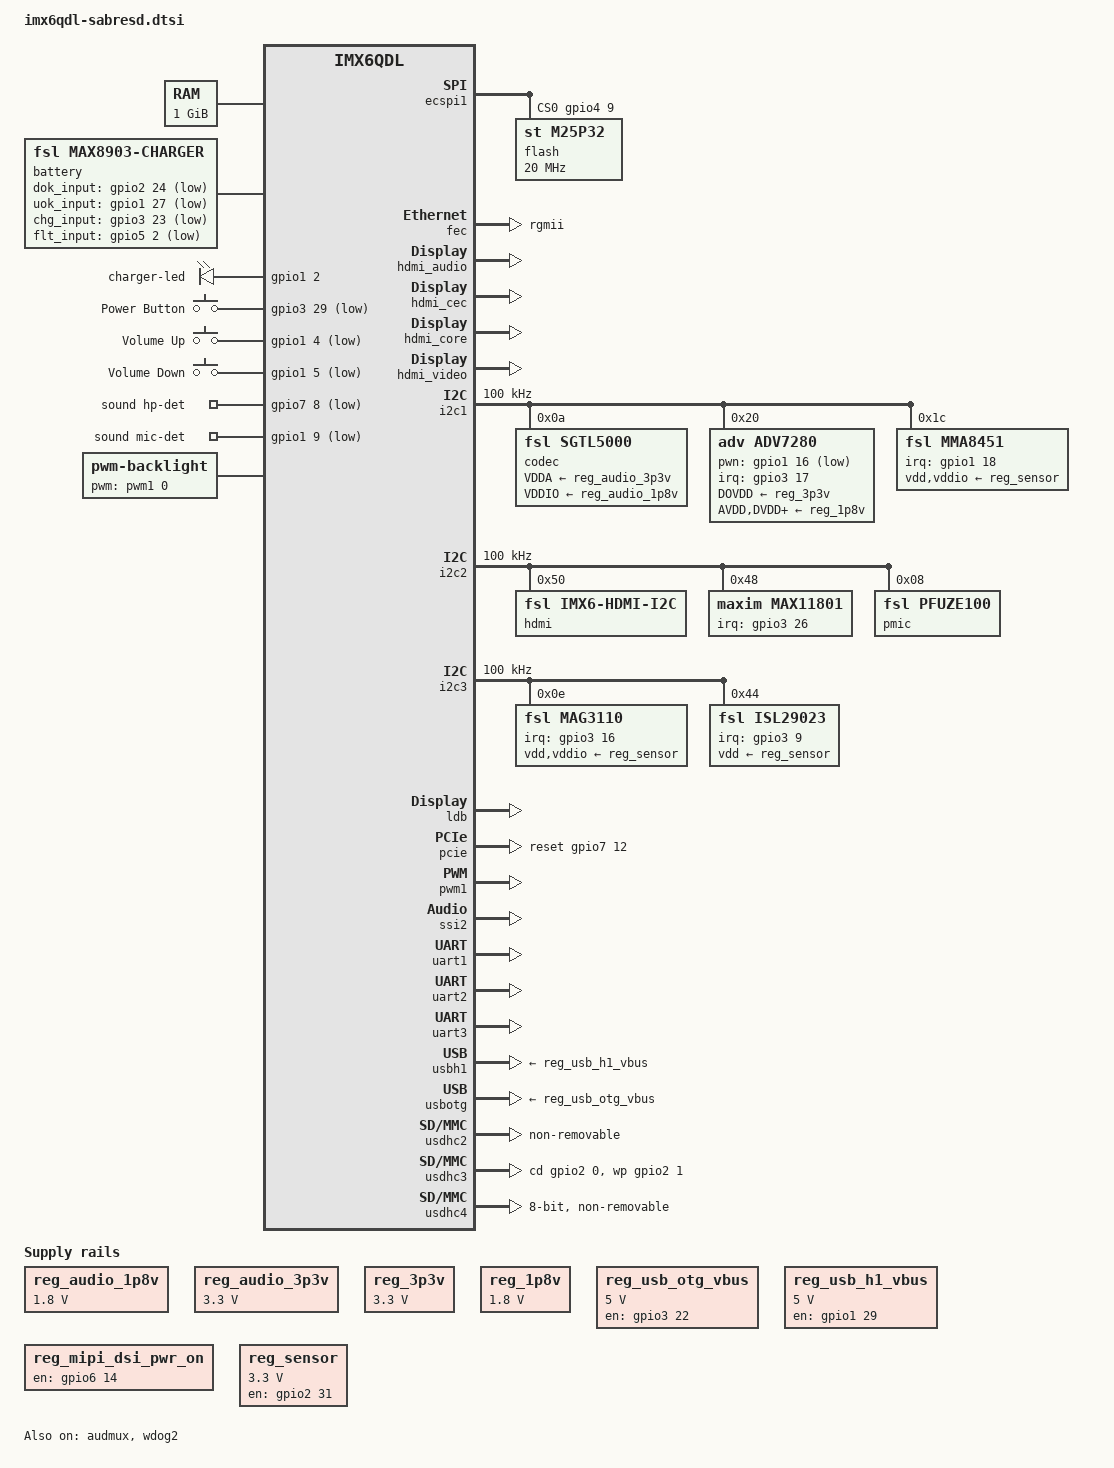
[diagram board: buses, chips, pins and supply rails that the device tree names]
/*
 * Copyright 2012 Freescale Semiconductor, Inc.
 * Copyright 2011 Linaro Ltd.
 *
 * The code contained herein is licensed under the GNU General Public
 * License. You may obtain a copy of the GNU General Public License
 * Version 2 or later at the following locations:
 *
 * http://www.opensource.org/licenses/gpl-license.html
 * http://www.gnu.org/copyleft/gpl.html
 */

/ {
	aliases {
		mxcfb0 = &mxcfb1;
		mxcfb1 = &mxcfb2;
		mxcfb2 = &mxcfb3;
		mxcfb3 = &mxcfb4;
	};

	memory {
		reg = <0x10000000 0x40000000>;
	};

	battery: max8903@0 {
		compatible = "fsl,max8903-charger";
		pinctrl-names = "default";
		dok_input = <&gpio2 24 1>;
		uok_input = <&gpio1 27 1>;
		chg_input = <&gpio3 23 1>;
		flt_input = <&gpio5 2 1>;
		fsl,dcm_always_high;
		fsl,dc_valid;
		fsl,usb_valid;
		status = "okay";
	};

	hannstar_cabc {
		compatible = "hannstar,cabc";

		lvds0 {
			gpios = <&gpio6 15 GPIO_ACTIVE_HIGH>;
		};

		lvds1 {
			gpios = <&gpio6 16 GPIO_ACTIVE_HIGH>;
		};
	};

	leds {
		compatible = "gpio-leds";

		charger-led {
			gpios = <&gpio1 2 0>;
			linux,default-trigger = "max8903-charger-charging";
			retain-state-suspended;
		};
	};

	regulators {
		compatible = "simple-bus";

		reg_audio_1p8v: sgtl5000_1p8v {
			compatible = "regulator-fixed";
			regulator-name = "1P8V";
			regulator-min-microvolt = <1800000>;
			regulator-max-microvolt = <1800000>;
			regulator-always-on;
		};

		reg_audio_3p3v: sgtl5000_3p3v {
			compatible = "regulator-fixed";
			regulator-name = "3P3V";
			regulator-min-microvolt = <3300000>;
			regulator-max-microvolt = <3300000>;
			regulator-always-on;
		};

		reg_3p3v: reg_3p3v {
			compatible = "regulator-fixed";
			regulator-name = "3P3V";
			regulator-min-microvolt = <3300000>;
			regulator-max-microvolt = <3300000>;
			regulator-always-on;
		};

		reg_1p8v: reg_1p8v {
			compatible = "regulator-fixed";
			regulator-name = "1P8V";
			regulator-min-microvolt = <1800000>;
			regulator-max-microvolt = <1800000>;
			regulator-always-on;
		};

		reg_usb_otg_vbus: usb_otg_vbus {
			compatible = "regulator-fixed";
			regulator-name = "usb_otg_vbus";
			regulator-min-microvolt = <5000000>;
			regulator-max-microvolt = <5000000>;		
			gpio = <&gpio3 22 0>;	/* USB_OTG_PWR_EN (EIM_DATA22) => GPIO3_IO22*/
			enable-active-high;
		};

		reg_usb_h1_vbus: usb_h1_vbus {
			compatible = "regulator-fixed";
			regulator-name = "usb_h1_vbus";
			regulator-min-microvolt = <5000000>;
			regulator-max-microvolt = <5000000>;
			gpio = <&gpio1 29 0>;	/* USB_H1_PWR_EN (ENET_TX_DATA1) => GPIO1_IO29 */
			enable-active-high;
		};

		reg_mipi_dsi_pwr_on: mipi_dsi_pwr_on {
			compatible = "regulator-fixed";
			regulator-name = "mipi_dsi_pwr_on";
			gpio = <&gpio6 14 0>;
			enable-active-high;
		};

		reg_sensor: sensor_supply {
			compatible = "regulator-fixed";
			regulator-name = "sensor-supply";
			regulator-min-microvolt = <3300000>;
			regulator-max-microvolt = <3300000>;
			gpio = <&gpio2 31 0>;	/* SENSOR_PWR_EN (EIM_EB3) => GPIO2_IO31 */
			startup-delay-us = <500>;
			enable-active-high;
		};
	};

	gpio-keys {
		compatible = "gpio-keys";
		power {
			label = "Power Button";
			gpios = <&gpio3 29 1>;
			linux,code = <116>; /* KEY_POWER */
			gpio-key,wakeup;
		};

		volume-up {
			label = "Volume Up";
			gpios = <&gpio1 4 1>;
			linux,code = <115>; /* KEY_VOLUMEUP */
		};

		volume-down {
			label = "Volume Down";
			gpios = <&gpio1 5 1>;
			linux,code = <114>; /* KEY_VOLUMEDOWN */
		};
	};

	sound {
		compatible = "fsl,imx6q-sabresd-sgtl5000",
			     "fsl,imx-audio-sgtl5000";
		model = "sgtl5000-audio";
		cpu-dai = <&ssi2>;
		audio-codec = <&codec>;
		audio-routing =
			"MIC_IN", "Mic Jack",
			"Mic Jack", "Mic Bias",
			"Headphone Jack", "HP_OUT";
		/* total 7 adumux port*/
		mux-int-port = <2>; 	/* SSI2 */
		mux-ext-port = <3>; 	/* AUD3, just see pinctrl of audmux */
		hp-det-gpios = <&gpio7 8 1>;	/* used, but not implemented */
		mic-det-gpios = <&gpio1 9 1>;	/* not used */
	};
/*
	sound-fm {
		compatible = "fsl,imx-audio-si476x",
			   "fsl,imx-tuner-si476x";
		model = "imx-radio-si4763";

		ssi-controller = <&ssi2>;
		fm-controller = <&si476x_codec>;
		mux-int-port = <2>;
		mux-ext-port = <5>;
	};
*/
	sound-hdmi {
		compatible = "fsl,imx6q-audio-hdmi",
			     "fsl,imx-audio-hdmi";
		model = "imx-audio-hdmi";
		hdmi-controller = <&hdmi_audio>;
	};

	mxcfb1: fb@0 {
		compatible = "fsl,mxc_sdc_fb";
		disp_dev = "ldb";
		interface_pix_fmt = "RGB666";
		default_bpp = <16>;
		int_clk = <0>;
		late_init = <0>;
		status = "disabled";
	};

	mxcfb2: fb@1 {
		compatible = "fsl,mxc_sdc_fb";
		disp_dev = "hdmi";
		interface_pix_fmt = "RGB24";
		mode_str ="1920x1080M@60";
		default_bpp = <24>;
		int_clk = <0>;
		late_init = <0>;
		status = "disabled";
	};

	mxcfb3: fb@2 {
		compatible = "fsl,mxc_sdc_fb";
		disp_dev = "lcd";
		interface_pix_fmt = "RGB565";
		mode_str ="CLAA-WVGA";
		default_bpp = <16>;
		int_clk = <0>;
		late_init = <0>;
		status = "disabled";
	};

	mxcfb4: fb@3 {
		compatible = "fsl,mxc_sdc_fb";
		disp_dev = "ldb";
		interface_pix_fmt = "RGB666";
		default_bpp = <16>;
		int_clk = <0>;
		late_init = <0>;
		status = "disabled";
	};

	mxclcd0:lcd@0 {
		compatible = "fsl,lcd";
		ipu_id = <0>;
		disp_id = <0>;
		default_ifmt = "RGB565";
		pinctrl-names = "default";
		pinctrl-0 = <&pinctrl_ipu1_1>; 
		status = "disabled"; /* okay */
	};

	backlight {
		compatible = "pwm-backlight";
		pwms = <&pwm1 0 5000000>;
		brightness-levels = <0 4 8 16 32 64 128 255>;
		default-brightness-level = <7>;
	};

	v4l2_cap_0 {
		compatible = "fsl,imx6q-v4l2-capture";
		ipu_id = <0>;
		csi_id = <0>;
		mclk_source = <0>;
		status = "okay";
	};

	v4l2_cap_1 {
		compatible = "fsl,imx6q-v4l2-capture";
		ipu_id = <0>;
		csi_id = <1>;
		mclk_source = <0>;
		status = "disabled"; /* okay */
	};

	v4l2_out {
		compatible = "fsl,mxc_v4l2_output";
		status = "okay";
	};

	mipi_dsi_reset: mipi-dsi-reset {
		compatible = "gpio-reset";
		reset-gpios = <&gpio6 11 GPIO_ACTIVE_LOW>;
		reset-delay-us = <50>;
		#reset-cells = <0>;
		status = "disabled";	/* add by yusw*/
	};
};

&audmux {
	pinctrl-names = "default";
	pinctrl-0 = <&pinctrl_audmux_2>;	/*AUD3*/
	status = "okay";
};

&cpu0 {
	arm-supply = <&sw1a_reg>;
	soc-supply = <&sw1c_reg>;
	pu-supply = <&pu_dummy>; /* use pu_dummy if VDDSOC share with VDDPU */
};

&ecspi1 {
	fsl,spi-num-chipselects = <1>;
	cs-gpios = <&gpio4 9 0>;
	pinctrl-names = "default";
	pinctrl-0 = <&pinctrl_ecspi1_2>;
	status = "okay";

	flash: m25p80@0 {
		#address-cells = <1>;
		#size-cells = <1>;
		compatible = "st,m25p32";
		spi-max-frequency = <20000000>;
		reg = <0>;
	};
};

&fec {
	pinctrl-names = "default";
	pinctrl-0 = <&pinctrl_enet_1>;
	phy-mode = "rgmii";
	status = "okay";
};

&gpc {
	fsl,cpu_pupscr_sw2iso = <0xf>;
	fsl,cpu_pupscr_sw = <0xf>;
	fsl,cpu_pdnscr_iso2sw = <0x1>;
	fsl,cpu_pdnscr_iso = <0x1>;
	fsl,ldo-bypass = <1>; /* use ldo-bypass, u-boot will check it and configure */
	fsl,wdog-reset = <2>; /* watchdog select of reset source */
	pu-supply = <&pu_dummy>; /* ldo-bypass:use pu_dummy if VDDSOC share with VDDPU */
};

&wdog1 {
	status = "disabled";
};

&wdog2 {
	status = "okay";
};

&gpu {
	pu-supply = <&pu_dummy>; /* ldo-bypass:use pu_dummy if VDDSOC share with VDDPU */
};

&hdmi_audio {
	status = "okay";
};

/* EPT HDMI CEC */
&hdmi_cec {
	pinctrl-names = "default";
	pinctrl-0 = <&pinctrl_hdmi_cec_2>;
	status = "okay";
};

&hdmi_core {
	ipu_id = <0>;
	disp_id = <0>;
	status = "okay";
};

&hdmi_video {
	fsl,phy_reg_vlev = <0x0294>;
	fsl,phy_reg_cksymtx = <0x800d>;
	status = "okay";
};

&i2c1 {
	clock-frequency = <100000>;
	pinctrl-names = "default";
	pinctrl-0 = <&pinctrl_i2c1_2>;
	status = "okay";

	/*I2C addr=0n01010 (n=CTRL_ADR0_CS)*/
	codec: sgtl5000@0a {
		compatible = "fsl,sgtl5000";
		reg = <0x0a>;
		clocks = <&clks 201>;
		VDDA-supply = <&reg_audio_3p3v>;
		VDDIO-supply = <&reg_audio_1p8v>;
	};

	/*I2C addr => ALSB=low(0x40) ALSB=high(0x41)*/
	adv7280: adv7280@20 {
		compatible = "adv,adv7280";
		reg = <0x20>;
		pinctrl-names = "default";
		pinctrl-0 = <&pinctrl_ipu1_2>;
		clocks = <&clks 201>;
		clock-names = "csi_mclk";
		DOVDD-supply = <&reg_3p3v>; /* 3.3v, enabled via 2.8 VGEN6 */
		AVDD-supply = <&reg_1p8v>;  /* 1.8v */
		DVDD-supply = <&reg_1p8v>;  /* 1.8v */
		PVDD-supply = <&reg_1p8v>;  /* 1.8v */
		/*pwn-gpios = <&max7310_b 2 0>;*/		
		pwn-gpios = <&gpio1 16 1>;  	/* CSI0_PWN (SD1_DATA0) => GPIO1_IO16 */
		csi_id = <0>;
		mclk = <24000000>;
		mclk_source = <0>;
		cvbs = <1>;
		interrupt-parent = <&gpio3>;	/* AVIN_INT (EIM_DATA17) => GPIO3_IO17 */
		interrupts = <17 8>;		/* need fixed */
		interrupt-route = <1>;
	};

	/*I2C addr=> PIN7=high(0x1D) PIN7=low(0x1C)*/
	mma8451@1c {
		compatible = "fsl,mma8451";
		reg = <0x1c>;
		position = <0>;
		vdd-supply = <&reg_sensor>;
		vddio-supply = <&reg_sensor>;	
		interrupt-parent = <&gpio1>;	/* ACCL_INT_IN (SD1_CMD) => GPIO1_IO18 */
		interrupts = <18 1>;
		/* interrupts = <18 8>; */		/* IRQ(178=160+18) low (???) */
		/* interrupt-route = <1>; */
	};
};

&i2c2 {
	clock-frequency = <100000>;
	pinctrl-names = "default";
	pinctrl-0 = <&pinctrl_i2c2_2>;
	status = "okay";

	hdmi: edid@50 {
		compatible = "fsl,imx6-hdmi-i2c";
		reg = <0x50>;
	};

	max11801@48 {
		compatible = "maxim,max11801";
		reg = <0x48>;
		interrupt-parent = <&gpio3>;	/* */
		interrupts = <26 2>;
		work-mode = <1>;/*DCM mode*/
	};
	
	pmic: pfuze100@08 {
		compatible = "fsl,pfuze100";
		reg = <0x08>;
	};
};

&i2c3 {
        clock-frequency = <100000>;
        pinctrl-names = "default";
        pinctrl-0 = <&pinctrl_i2c3_2>;
        status = "okay";

	/*I2C (addr = 0x0E) , write_addr=0x1C ,read_addr = 0x1D */
	mag3110@0e {
		compatible = "fsl,mag3110";
		reg = <0x0e>;
		position = <2>;
		vdd-supply = <&reg_sensor>;
		vddio-supply = <&reg_sensor>;
		interrupt-parent = <&gpio3>;	/* COMP_INT (EIM_DATA16) => GPIO3_IO16 */
		interrupts = <16 1>;		/* IRQ(240=224+16), High is output (??? low-to-high edge) */
	};

	/*I2C (addr = 0x44) */
	isl29023@44 {
		compatible = "fsl,isl29023";
		reg = <0x44>;
		rext = <499>;
		vdd-supply = <&reg_sensor>;
		interrupt-parent = <&gpio3>;	/* ALS_INT (EIM_AD09) => GPIO3_IO09 */
		interrupts = <9 2>;		/* IQR(233=224+9), Low is output (??? high-to-low edge) */
	};
};

&iomuxc {
	pinctrl-names = "default";
	pinctrl-0 = <&pinctrl_hog_1>;
/*
				MX6QDL_PAD_EIM_EB3__GPIO2_IO31 0x80000000
				// for SD-CARD
				MX6QDL_PAD_NANDF_D0__GPIO2_IO00 0x80000000
				MX6QDL_PAD_NANDF_D1__GPIO2_IO01 0x80000000
				// BT_POWER
				MX6QDL_PAD_EIM_A24__GPIO5_IO04 0xC0000000
				// WIFI_POWER
				MX6QDL_PAD_EIM_A20__GPIO2_IO18 0xC0000000
*/
				/* MX6QDL_PAD_EIM_AD0__GPIO3_IO00   0x1b0b1*/	/*GPS_PWREN*/
				/* MX6QDL_PAD_EIM_EB0__GPIO2_IO28   0x1b0b1*/	/*GPS_RESET_B*/
				/* MX6QDL_PAD_EIM_D18__GPIO3_IO18   0x1b0b1*/	/*GPS_PPS*/

	hog {
		pinctrl_hog_1: hoggrp-1 {
			fsl,pins = <
				MX6QDL_PAD_EIM_DA0__GPIO3_IO00 0xC0000000
				MX6QDL_PAD_EIM_EB0__GPIO2_IO28 0xC0000000
				MX6QDL_PAD_EIM_D18__GPIO3_IO18 0xC0000000
				MX6QDL_PAD_EIM_A20__GPIO2_IO18 0xC0000000
				MX6QDL_PAD_EIM_A24__GPIO5_IO04 0xC0000000
				MX6QDL_PAD_GPIO_4__GPIO1_IO04   0x80000000
				MX6QDL_PAD_GPIO_5__GPIO1_IO05   0x80000000
				MX6QDL_PAD_NANDF_D0__GPIO2_IO00 0xC0000000
				MX6QDL_PAD_NANDF_D1__GPIO2_IO01 0xC0000000
				MX6QDL_PAD_NANDF_D2__GPIO2_IO02 0x80000000
				MX6QDL_PAD_NANDF_D3__GPIO2_IO03 0x80000000
				MX6QDL_PAD_NANDF_ALE__GPIO6_IO08 0x80000000
				MX6QDL_PAD_NANDF_CLE__GPIO6_IO07 0x80000000
				MX6QDL_PAD_GPIO_0__CCM_CLKO1    0x130b0
				MX6QDL_PAD_NANDF_CS2__GPIO6_IO15 0x80000000
				MX6QDL_PAD_NANDF_CS3__GPIO6_IO16 0x80000000
				MX6QDL_PAD_EIM_D26__GPIO3_IO26 0x80000000
				MX6QDL_PAD_EIM_CS1__GPIO2_IO24 0x80000000
				MX6QDL_PAD_ENET_RXD0__GPIO1_IO27 0x80000000
				MX6QDL_PAD_EIM_A25__GPIO5_IO02 0x80000000
				MX6QDL_PAD_EIM_D23__GPIO3_IO23 0x80000000
				MX6QDL_PAD_ENET_TXD1__GPIO1_IO29 0x80000000
				MX6QDL_PAD_EIM_D22__GPIO3_IO22  0x80000000
				MX6QDL_PAD_NANDF_CS0__GPIO6_IO11 0x80000000
				MX6QDL_PAD_NANDF_CS1__GPIO6_IO14 0x80000000
				MX6QDL_PAD_EIM_D16__GPIO3_IO16 0x80000000
				MX6QDL_PAD_EIM_DA9__GPIO3_IO09 0x80000000
				MX6QDL_PAD_GPIO_4__GPIO1_IO04 0x80000000
				MX6QDL_PAD_GPIO_5__GPIO1_IO05 0x80000000
				MX6QDL_PAD_EIM_D29__GPIO3_IO29 0x80000000
				MX6QDL_PAD_SD3_RST__GPIO7_IO08 0x80000000
				MX6QDL_PAD_GPIO_9__GPIO1_IO09 0x80000000
				MX6QDL_PAD_GPIO_1__WDOG2_B 0x80000000
				MX6QDL_PAD_GPIO_2__GPIO1_IO02 0x80000000
				MX6QDL_PAD_SD1_CMD__GPIO1_IO18 0x80000000
			>;
		};
	};
};

&ldb {
	status = "okay";

	lvds-channel@0 {
		fsl,data-mapping = "spwg";
		fsl,data-width = <18>;
		status = "okay";

		display-timings {
			native-mode = <&timing0>;
			timing0: hsd100pxn1 {
				clock-frequency = <65000000>;
				hactive = <1024>;
				vactive = <768>;
				hback-porch = <220>;
				hfront-porch = <40>;
				vback-porch = <21>;
				vfront-porch = <7>;
				hsync-len = <60>;
				vsync-len = <10>;
			};
		};
	};

	lvds-channel@1 {
		fsl,data-mapping = "spwg";
		fsl,data-width = <18>;
		primary;
		status = "okay";

		display-timings {
			native-mode = <&timing1>;
			timing1: hsd100pxn1 {
				clock-frequency = <65000000>;
				hactive = <1024>;
				vactive = <768>;
				hback-porch = <220>;
				hfront-porch = <40>;
				vback-porch = <21>;
				vfront-porch = <7>;
				hsync-len = <60>;
				vsync-len = <10>;
			};
		};
	};
};

&mipi_csi {
	status = "disabled"; /* okay */
	ipu_id = <0>;
	csi_id = <1>;
	v_channel = <0>;
	lanes = <2>;
};

&mipi_dsi {
	dev_id = <0>;
	disp_id = <1>;
	lcd_panel = "TRULY-WVGA";
	disp-power-on-supply = <&reg_mipi_dsi_pwr_on>;
	resets = <&mipi_dsi_reset>;
	status = "disabled";	/* okay */
};

&dcic1 {
	dcic_id = <0>;
	dcic_mux = "dcic-hdmi";
	status = "disabled";	/* okay */
};

&dcic2 {
	dcic_id = <1>;
	dcic_mux = "dcic-lvds1";
	status = "disabled";	/* okay */
};

&pcie {
	power-on-gpio = <&gpio3 19 0>;
	reset-gpio = <&gpio7 12 0>;
	status = "okay";
};


&pwm1 {
	pinctrl-names = "default";
	pinctrl-0 = <&pinctrl_pwm1_1>;
	status = "okay";
};

&ssi2 {
	fsl,mode = "i2s-slave";
	status = "okay";
};

/* EPT DEBUG UART1 */
&uart1 {
	pinctrl-names = "default";
	pinctrl-0 = <&pinctrl_uart1_1>;
	status = "okay";
};

/* EPT BLUETOOTH */
&uart2 {
	pinctrl-names = "default";
	pinctrl-0 = <&pinctrl_uart2_0>;
	status = "okay";
};

/* EPT GPS */
&uart3 {
	pinctrl-names = "default";
	pinctrl-0 = <&pinctrl_uart3_0>;
	status = "okay";
};

&usbh1 {
	vbus-supply = <&reg_usb_h1_vbus>;
	status = "okay";
};

&usbotg {
	vbus-supply = <&reg_usb_otg_vbus>;
	pinctrl-names = "default";
	pinctrl-0 = <&pinctrl_usbotg_2>; /* <&pinctrl_usbotg_2>;*/
	disable-over-current;
	status = "okay";
};

/* WIFI */
&usdhc2 {
	pinctrl-names = "default";
	pinctrl-0 = <&pinctrl_usdhc2_2>; /* <&pinctrl_usdhc2_1>;*/
	/* cd-gpios = <&gpio2 2 0>; */
	/* wp-gpios = <&gpio2 3 0>; */
	non-removable;
	no-1-8-v;
	keep-power-in-suspend;
	/* enable-sdio-wakeup; */
	status = "okay";
};

/* SDCARD */
&usdhc3 {
	pinctrl-names = "default";
	pinctrl-0 = <&pinctrl_usdhc3_2>; /*<&pinctrl_usdhc3_1>;*/
	cd-gpios = <&gpio2 0 0>;
	wp-gpios = <&gpio2 1 0>;
	no-1-8-v;
	keep-power-in-suspend;
	enable-sdio-wakeup;
	status = "okay";
};

/* EMMC */
&usdhc4 {
        pinctrl-names = "default";
        pinctrl-0 = <&pinctrl_usdhc4_1>;
        bus-width = <8>;
        non-removable;
        no-1-8-v;
	keep-power-in-suspend;
        status = "okay";
};

&vpu {
	pu-supply = <&pu_dummy>; /* ldo-bypass:use pu_dummy if VDDSOC share with VDDPU */
};
